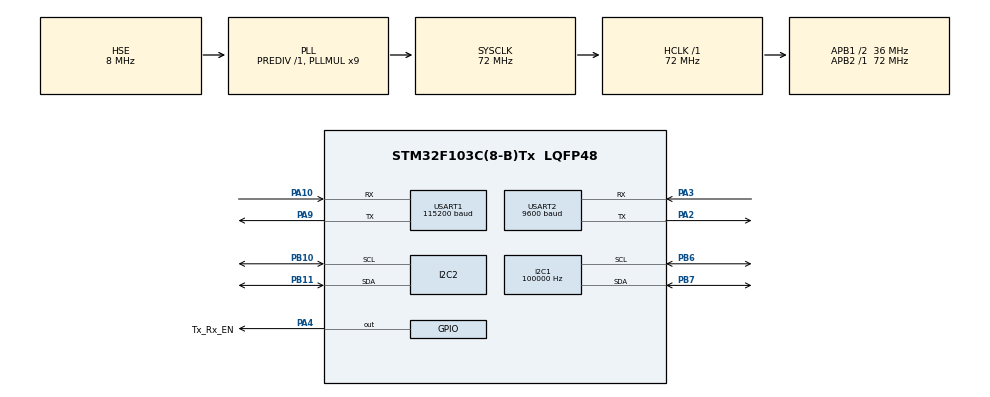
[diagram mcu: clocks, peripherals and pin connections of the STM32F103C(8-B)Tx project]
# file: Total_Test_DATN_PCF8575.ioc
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Dma.Request0=USART1_TX
Dma.Request1=USART1_RX
Dma.Request2=USART2_RX
Dma.Request3=USART2_TX
Dma.USART1_RX.1.Direction=DMA_PERIPH_TO_MEMORY
Dma.USART1_RX.1.Instance=DMA1_Channel5
Dma.USART1_RX.1.MemDataAlignment=DMA_MDATAALIGN_BYTE
Dma.USART1_RX.1.MemInc=DMA_MINC_ENABLE
Dma.USART1_RX.1.Mode=DMA_NORMAL
Dma.USART1_RX.1.PeriphDataAlignment=DMA_PDATAALIGN_BYTE
Dma.USART1_RX.1.PeriphInc=DMA_PINC_DISABLE
Dma.USART1_RX.1.Priority=DMA_PRIORITY_LOW
Dma.USART1_TX.0.Direction=DMA_MEMORY_TO_PERIPH
Dma.USART1_TX.0.Instance=DMA1_Channel4
Dma.USART1_TX.0.MemDataAlignment=DMA_MDATAALIGN_BYTE
Dma.USART1_TX.0.MemInc=DMA_MINC_ENABLE
Dma.USART1_TX.0.Mode=DMA_NORMAL
Dma.USART1_TX.0.PeriphDataAlignment=DMA_PDATAALIGN_BYTE
Dma.USART1_TX.0.PeriphInc=DMA_PINC_DISABLE
Dma.USART1_TX.0.Priority=DMA_PRIORITY_LOW
Dma.USART2_RX.2.Direction=DMA_PERIPH_TO_MEMORY
Dma.USART2_RX.2.Instance=DMA1_Channel6
Dma.USART2_RX.2.MemDataAlignment=DMA_MDATAALIGN_BYTE
Dma.USART2_RX.2.MemInc=DMA_MINC_ENABLE
Dma.USART2_RX.2.Mode=DMA_NORMAL
Dma.USART2_RX.2.PeriphDataAlignment=DMA_PDATAALIGN_BYTE
Dma.USART2_RX.2.PeriphInc=DMA_PINC_DISABLE
Dma.USART2_RX.2.Priority=DMA_PRIORITY_LOW
Dma.USART2_TX.3.Direction=DMA_MEMORY_TO_PERIPH
Dma.USART2_TX.3.Instance=DMA1_Channel7
Dma.USART2_TX.3.MemDataAlignment=DMA_MDATAALIGN_BYTE
Dma.USART2_TX.3.MemInc=DMA_MINC_ENABLE
Dma.USART2_TX.3.Mode=DMA_NORMAL
Dma.USART2_TX.3.PeriphDataAlignment=DMA_PDATAALIGN_BYTE
Dma.USART2_TX.3.PeriphInc=DMA_PINC_DISABLE
Dma.USART2_TX.3.Priority=DMA_PRIORITY_LOW
I2C1.ClockSpeed=100000
I2C1.I2C_Mode=I2C_Standard
I2C2.I2C_Mode=I2C_Standard
IWDG.Prescaler=IWDG_PRESCALER_32
IWDG.Reload=2999
Mcu.Family=STM32F1
Mcu.Name=STM32F103C(8-B)Tx
Mcu.Package=LQFP48
NVIC.DMA1_Channel4_IRQn=true\:2\:0\:true\:false\:true\:false\:true\:true
NVIC.DMA1_Channel5_IRQn=true\:2\:0\:true\:false\:true\:false\:true\:true
NVIC.DMA1_Channel6_IRQn=true\:0\:0\:false\:false\:true\:false\:true\:true
NVIC.DMA1_Channel7_IRQn=true\:0\:0\:false\:false\:true\:false\:true\:true
NVIC.PriorityGroup=NVIC_PRIORITYGROUP_4
NVIC.USART1_IRQn=true\:2\:0\:true\:false\:true\:true\:true\:true
NVIC.USART2_IRQn=true\:0\:0\:false\:false\:true\:true\:true\:true
PA10.Mode=Asynchronous
PA10.Signal=USART1_RX
PA13.Mode=Serial_Wire
PA13.Signal=SYS_JTMS-SWDIO
PA14.Mode=Serial_Wire
PA14.Signal=SYS_JTCK-SWCLK
PA2.Mode=Asynchronous
PA2.Signal=USART2_TX
PA3.Mode=Asynchronous
PA3.Signal=USART2_RX
PA4.GPIO_Label=Tx_Rx_EN
PA4.GPIO_PuPd=GPIO_PULLUP
PA4.PinState=GPIO_PIN_SET
PA4.Signal=GPIO_Output
PA9.Mode=Asynchronous
PA9.Signal=USART1_TX
PB10.Mode=I2C
PB10.Signal=I2C2_SCL
PB11.Mode=I2C
PB11.Signal=I2C2_SDA
PB6.Mode=I2C
PB6.Signal=I2C1_SCL
PB7.Mode=I2C
PB7.Signal=I2C1_SDA
PC14-OSC32_IN.Mode=LSE-External-Oscillator
PC14-OSC32_IN.Signal=RCC_OSC32_IN
PC15-OSC32_OUT.Mode=LSE-External-Oscillator
PC15-OSC32_OUT.Signal=RCC_OSC32_OUT
PD0-OSC_IN.Mode=HSE-External-Oscillator
PD0-OSC_IN.Signal=RCC_OSC_IN
PD1-OSC_OUT.Mode=HSE-External-Oscillator
PD1-OSC_OUT.Signal=RCC_OSC_OUT
ProjectManager.HeapSize=0x200
ProjectManager.StackSize=0x400
ProjectManager.TargetToolchain=STM32CubeIDE
RCC.AHBFreq_Value=72000000
RCC.APB1CLKDivider=RCC_HCLK_DIV2
RCC.APB1Freq_Value=36000000
RCC.APB1TimFreq_Value=72000000
RCC.APB2Freq_Value=72000000
RCC.APB2TimFreq_Value=72000000
RCC.HCLKFreq_Value=72000000
RCC.PLLMUL=RCC_PLL_MUL9
RCC.PLLSourceVirtual=RCC_PLLSOURCE_HSE
RCC.SYSCLKFreq_VALUE=72000000
RCC.SYSCLKSource=RCC_SYSCLKSOURCE_PLLCLK
RCC.USBFreq_Value=72000000
USART1.BaudRate=115200
USART1.VirtualMode=VM_ASYNC
USART2.BaudRate=9600
USART2.VirtualMode=VM_ASYNC
VP_IWDG_VS_IWDG.Mode=IWDG_Activate
board=custom

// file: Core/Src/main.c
/* USER CODE BEGIN Header */
/**
  ******************************************************************************
  * @file           : main.c
  * @brief          : Main program body
  ******************************************************************************
  * @attention
  *
  * Copyright (c) 2023 STMicroelectronics.
  * All rights reserved.
  *
  * This software is licensed under terms that can be found in the LICENSE file
  * in the root directory of this software component.
  * If no LICENSE file comes with this software, it is provided AS-IS.
  *
  ******************************************************************************
  */
/* USER CODE END Header */
#include "main.h"

/* USER CODE BEGIN Includes */
#include "CRC.h"
#include"CONFIG.h"
#include "stdbool.h"
#include "string.h"
#include "main.h"
//#define stm
/* USER CODE END Includes */

/* USER CODE BEGIN PTD */
uint8_t reset_digital[2] ={0xff,0xff};

/* USER CODE END PTD */

I2C_HandleTypeDef hi2c1;
I2C_HandleTypeDef hi2c2;

IWDG_HandleTypeDef hiwdg;

UART_HandleTypeDef huart1;
UART_HandleTypeDef huart2;
DMA_HandleTypeDef hdma_usart1_tx;
DMA_HandleTypeDef hdma_usart1_rx;
DMA_HandleTypeDef hdma_usart2_rx;
DMA_HandleTypeDef hdma_usart2_tx;

void SystemClock_Config(void);
static void MX_DMA_Init(void);
static void MX_IWDG_Init(void);

int main(void)
{

  /* MCU Configuration--------------------------------------------------------*/

  /* Reset of all peripherals, Initializes the Flash interface and the Systick. */
  HAL_Init();

  /* Configure the system clock */
  SystemClock_Config();

  /* Initialize all configured peripherals */
  MX_GPIO_Init();
  MX_DMA_Init();
  MX_I2C1_Init();
  MX_I2C2_Init();
  MX_USART1_UART_Init();
  MX_USART2_UART_Init();
//  MX_IWDG_Init();
  /* USER CODE BEGIN 2 */
  build_crc16_table();
#ifdef stm
uint8_t v[5];
  v[0] = ID;
  v[1] = 0xCE;
  v[2] = 0;
  uint16_t CRC_txdata = CRC16((uint8_t*)v,3);
  	rx_buffer[3]= (CRC_txdata&0xFF);
  	rx_buffer[4]= ((CRC_txdata>>8)&0xFF);
  	HAL_UART_Transmit(&huart1, v, 5, 300);
#endif
  HAL_I2C_Master_Transmit(&hi2c1,address_PCF8575<<1,(uint8_t*)reset_digital,2,30);
  HAL_GPIO_WritePin(Tx_Rx_EN_GPIO_Port, Tx_Rx_EN_Pin, GPIO_PIN_RESET);
  HAL_UARTEx_ReceiveToIdle_DMA(&huart1, uartReciver_buffer, UARTRX_BUFF_SIZE);
  __HAL_DMA_DISABLE_IT(&hdma_usart1_rx,DMA_IT_HT);
  HAL_UARTEx_ReceiveToIdle_DMA(&huart2, uartReciver_rs485, 30);
  __HAL_DMA_DISABLE_IT(&hdma_usart2_rx,DMA_IT_HT);
  /* USER CODE END 2 */

  /* Infinite loop */
  while (1)
  {

    /* USER CODE BEGIN 3 */
	  loop();
  }
  /* USER CODE END 3 */
}

void SystemClock_Config(void)
{
  RCC_OscInitTypeDef RCC_OscInitStruct = {0};
  RCC_ClkInitTypeDef RCC_ClkInitStruct = {0};

  /** Initializes the RCC Oscillators according to the specified parameters
  * in the RCC_OscInitTypeDef structure.
  */
  RCC_OscInitStruct.OscillatorType = RCC_OSCILLATORTYPE_LSI|RCC_OSCILLATORTYPE_HSE;
  RCC_OscInitStruct.HSEState = RCC_HSE_ON;
  RCC_OscInitStruct.HSEPredivValue = RCC_HSE_PREDIV_DIV1;
  RCC_OscInitStruct.HSIState = RCC_HSI_ON;
  RCC_OscInitStruct.LSIState = RCC_LSI_ON;
  RCC_OscInitStruct.PLL.PLLState = RCC_PLL_ON;
  RCC_OscInitStruct.PLL.PLLSource = RCC_PLLSOURCE_HSE;
  RCC_OscInitStruct.PLL.PLLMUL = RCC_PLL_MUL9;
  if (HAL_RCC_OscConfig(&RCC_OscInitStruct) != HAL_OK)
  {
    Error_Handler();
  }

  /** Initializes the CPU, AHB and APB buses clocks
  */
  RCC_ClkInitStruct.ClockType = RCC_CLOCKTYPE_HCLK|RCC_CLOCKTYPE_SYSCLK
                              |RCC_CLOCKTYPE_PCLK1|RCC_CLOCKTYPE_PCLK2;
  RCC_ClkInitStruct.SYSCLKSource = RCC_SYSCLKSOURCE_PLLCLK;
  RCC_ClkInitStruct.AHBCLKDivider = RCC_SYSCLK_DIV1;
  RCC_ClkInitStruct.APB1CLKDivider = RCC_HCLK_DIV2;
  RCC_ClkInitStruct.APB2CLKDivider = RCC_HCLK_DIV1;

  if (HAL_RCC_ClockConfig(&RCC_ClkInitStruct, FLASH_LATENCY_2) != HAL_OK)
  {
    Error_Handler();
  }
}

void MX_I2C1_Init(void)
{

  hi2c1.Instance = I2C1;
  hi2c1.Init.ClockSpeed = 100000;
  hi2c1.Init.DutyCycle = I2C_DUTYCYCLE_2;
  hi2c1.Init.OwnAddress1 = 0;
  hi2c1.Init.AddressingMode = I2C_ADDRESSINGMODE_7BIT;
  hi2c1.Init.DualAddressMode = I2C_DUALADDRESS_DISABLE;
  hi2c1.Init.OwnAddress2 = 0;
  hi2c1.Init.GeneralCallMode = I2C_GENERALCALL_DISABLE;
  hi2c1.Init.NoStretchMode = I2C_NOSTRETCH_DISABLE;
  if (HAL_I2C_Init(&hi2c1) != HAL_OK)
  {
    Error_Handler();
  }

}

void MX_I2C2_Init(void)
{

  hi2c2.Instance = I2C2;
  hi2c2.Init.ClockSpeed = 100000;
  hi2c2.Init.DutyCycle = I2C_DUTYCYCLE_2;
  hi2c2.Init.OwnAddress1 = 0;
  hi2c2.Init.AddressingMode = I2C_ADDRESSINGMODE_7BIT;
  hi2c2.Init.DualAddressMode = I2C_DUALADDRESS_DISABLE;
  hi2c2.Init.OwnAddress2 = 0;
  hi2c2.Init.GeneralCallMode = I2C_GENERALCALL_DISABLE;
  hi2c2.Init.NoStretchMode = I2C_NOSTRETCH_DISABLE;
  if (HAL_I2C_Init(&hi2c2) != HAL_OK)
  {
    Error_Handler();
  }

}

static void MX_IWDG_Init(void)
{

  hiwdg.Instance = IWDG;
  hiwdg.Init.Prescaler = IWDG_PRESCALER_32;
  hiwdg.Init.Reload = 2999;
  if (HAL_IWDG_Init(&hiwdg) != HAL_OK)
  {
    Error_Handler();
  }

}

void MX_USART1_UART_Init(void)
{

  huart1.Instance = USART1;
  huart1.Init.BaudRate = 115200;
  huart1.Init.WordLength = UART_WORDLENGTH_8B;
  huart1.Init.StopBits = UART_STOPBITS_1;
  huart1.Init.Parity = UART_PARITY_NONE;
  huart1.Init.Mode = UART_MODE_TX_RX;
  huart1.Init.HwFlowCtl = UART_HWCONTROL_NONE;
  huart1.Init.OverSampling = UART_OVERSAMPLING_16;
  if (HAL_UART_Init(&huart1) != HAL_OK)
  {
    Error_Handler();
  }

}

void MX_USART2_UART_Init(void)
{

  huart2.Instance = USART2;
  huart2.Init.BaudRate = 9600;
  huart2.Init.WordLength = UART_WORDLENGTH_8B;
  huart2.Init.StopBits = UART_STOPBITS_1;
  huart2.Init.Parity = UART_PARITY_NONE;
  huart2.Init.Mode = UART_MODE_TX_RX;
  huart2.Init.HwFlowCtl = UART_HWCONTROL_NONE;
  huart2.Init.OverSampling = UART_OVERSAMPLING_16;
  if (HAL_UART_Init(&huart2) != HAL_OK)
  {
    Error_Handler();
  }

}

static void MX_DMA_Init(void)
{

  /* DMA controller clock enable */
  __HAL_RCC_DMA1_CLK_ENABLE();

  /* DMA interrupt init */
  /* DMA1_Channel4_IRQn interrupt configuration */
  HAL_NVIC_SetPriority(DMA1_Channel4_IRQn, 2, 0);
  HAL_NVIC_EnableIRQ(DMA1_Channel4_IRQn);
  /* DMA1_Channel5_IRQn interrupt configuration */
  HAL_NVIC_SetPriority(DMA1_Channel5_IRQn, 2, 0);
  HAL_NVIC_EnableIRQ(DMA1_Channel5_IRQn);
  /* DMA1_Channel6_IRQn interrupt configuration */
  HAL_NVIC_SetPriority(DMA1_Channel6_IRQn, 0, 0);
  HAL_NVIC_EnableIRQ(DMA1_Channel6_IRQn);
  /* DMA1_Channel7_IRQn interrupt configuration */
  HAL_NVIC_SetPriority(DMA1_Channel7_IRQn, 0, 0);
  HAL_NVIC_EnableIRQ(DMA1_Channel7_IRQn);

}

void MX_GPIO_Init(void)
{
  GPIO_InitTypeDef GPIO_InitStruct = {0};

  /* GPIO Ports Clock Enable */
  __HAL_RCC_GPIOC_CLK_ENABLE();
  __HAL_RCC_GPIOD_CLK_ENABLE();
  __HAL_RCC_GPIOA_CLK_ENABLE();
  __HAL_RCC_GPIOB_CLK_ENABLE();

  /*Configure GPIO pin Output Level */
  HAL_GPIO_WritePin(Tx_Rx_EN_GPIO_Port, Tx_Rx_EN_Pin, GPIO_PIN_SET);

  /*Configure GPIO pin : Tx_Rx_EN_Pin */
  GPIO_InitStruct.Pin = Tx_Rx_EN_Pin;
  GPIO_InitStruct.Mode = GPIO_MODE_OUTPUT_PP;
  GPIO_InitStruct.Pull = GPIO_PULLUP;
  GPIO_InitStruct.Speed = GPIO_SPEED_FREQ_LOW;
  HAL_GPIO_Init(Tx_Rx_EN_GPIO_Port, &GPIO_InitStruct);

}

void Error_Handler(void)
{
  __disable_irq();
  while (1)
  {
  }
}
